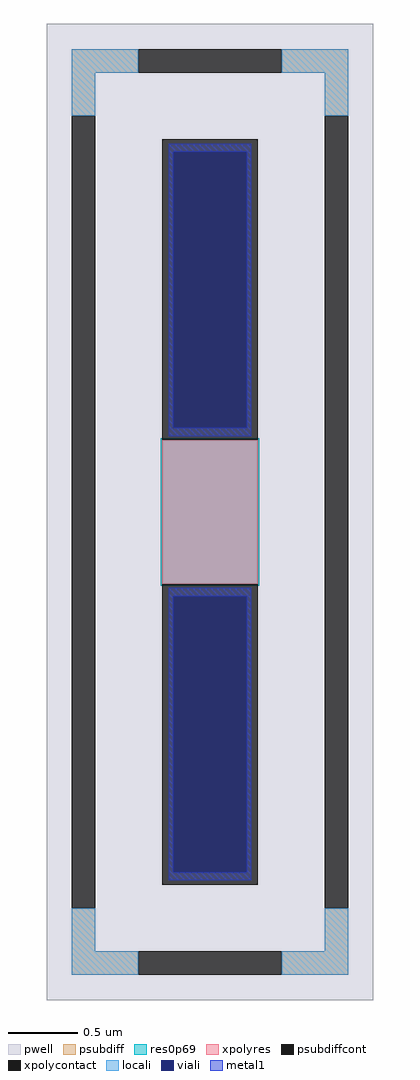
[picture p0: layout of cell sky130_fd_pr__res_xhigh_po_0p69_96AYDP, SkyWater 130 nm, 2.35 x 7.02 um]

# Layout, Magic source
magic
tech sky130A
magscale 1 2
<< pwell >>
rect -235 -702 235 702
<< psubdiff >>
rect -199 632 -103 666
rect 103 632 199 666
rect -199 570 -165 632
rect 165 570 199 632
rect -199 -632 -165 -570
rect 165 -632 199 -570
rect -199 -666 -103 -632
rect 103 -666 199 -632
<< psubdiffcont >>
rect -103 632 103 666
rect -199 -570 -165 570
rect 165 -570 199 570
rect -103 -666 103 -632
<< xpolycontact >>
rect -69 104 69 536
rect -69 -536 69 -104
<< xpolyres >>
rect -69 -104 69 104
<< locali >>
rect -199 632 -103 666
rect 103 632 199 666
rect -199 570 -165 632
rect 165 570 199 632
rect -199 -632 -165 -570
rect 165 -632 199 -570
rect -199 -666 -103 -632
rect 103 -666 199 -632
<< viali >>
rect -53 121 53 518
rect -53 -518 53 -121
<< metal1 >>
rect -59 518 59 530
rect -59 121 -53 518
rect 53 121 59 518
rect -59 109 59 121
rect -59 -121 59 -109
rect -59 -518 -53 -121
rect 53 -518 59 -121
rect -59 -530 59 -518
<< res0p69 >>
rect -71 -106 71 106
<< properties >>
string FIXED_BBOX -182 -649 182 649
string gencell sky130_fd_pr__res_xhigh_po_0p69
string library sky130
string parameters w 0.690 l 1.035 m 1 nx 1 wmin 0.690 lmin 0.50 rho 2000 val 3.545k dummy 0 dw 0.0 term 188.2 sterm 0.0 caplen 0 wmax 0.690 guard 1 glc 1 grc 1 gtc 1 gbc 1 compatible {sky130_fd_pr__res_xhigh_po_0p35  sky130_fd_pr__res_xhigh_po_0p69 sky130_fd_pr__res_xhigh_po_1p41  sky130_fd_pr__res_xhigh_po_2p85 sky130_fd_pr__res_xhigh_po_5p73} snake 0 full_metal 1 n_guard 0 hv_guard 0 vias 1 viagb 0 viagt 0 viagl 0 viagr 0
<< end >>
